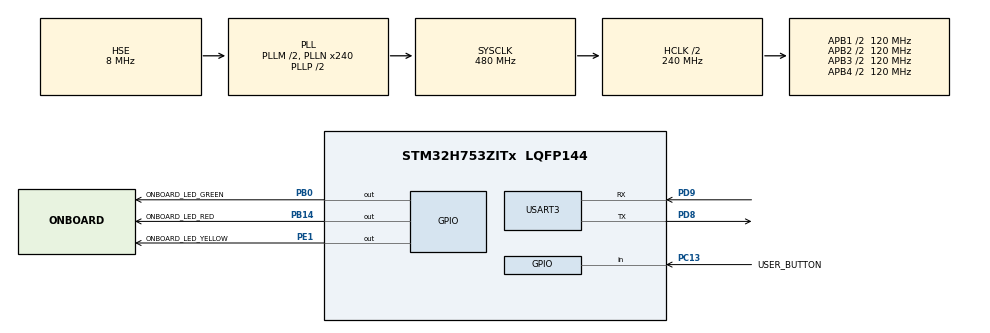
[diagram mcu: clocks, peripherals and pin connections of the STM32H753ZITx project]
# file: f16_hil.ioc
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CORTEX_M7.default_mode_Activation=1
Mcu.Family=STM32H7
Mcu.Name=STM32H753ZITx
Mcu.Package=LQFP144
NVIC.PriorityGroup=NVIC_PRIORITYGROUP_4
PB0.GPIO_Label=ONBOARD_LED_GREEN
PB0.Signal=GPIO_Output
PB14.GPIO_Label=ONBOARD_LED_RED
PB14.Signal=GPIO_Output
PC13.GPIO_Label=USER_BUTTON
PC13.Signal=GPIO_Input
PD8.Mode=Asynchronous
PD8.Signal=USART3_TX
PD9.Mode=Asynchronous
PD9.Signal=USART3_RX
PE1.GPIO_Label=ONBOARD_LED_YELLOW
PE1.Signal=GPIO_Output
PH0-OSC_IN\ (PH0).Mode=HSE-External-Oscillator
PH0-OSC_IN\ (PH0).Signal=RCC_OSC_IN
PH1-OSC_OUT\ (PH1).Mode=HSE-External-Oscillator
PH1-OSC_OUT\ (PH1).Signal=RCC_OSC_OUT
ProjectManager.HeapSize=0x200
ProjectManager.StackSize=0x400
ProjectManager.TargetToolchain=CMake
RCC.ADCFreq_Value=16125000
RCC.APB1Freq_Value=120000000
RCC.APB2Freq_Value=120000000
RCC.APB3Freq_Value=120000000
RCC.APB4Freq_Value=120000000
RCC.CortexFreq_Value=480000000
RCC.D1PPRE=RCC_APB3_DIV2
RCC.D2PPRE1=RCC_APB1_DIV2
RCC.D2PPRE2=RCC_APB2_DIV2
RCC.D3PPRE=RCC_APB4_DIV2
RCC.DIVM1=2
RCC.DIVN1=240
RCC.HCLKFreq_Value=240000000
RCC.HPRE=RCC_HCLK_DIV2
RCC.HSE_VALUE=8000000
RCC.PLLFRACN=0
RCC.PLLSourceVirtual=RCC_PLLSOURCE_HSE
RCC.SYSCLKFreq_VALUE=480000000
RCC.SYSCLKSource=RCC_SYSCLKSOURCE_PLLCLK
RCC.USBFreq_Value=480000000
USART3.VirtualMode-Asynchronous=VM_ASYNC
VP_MEMORYMAP_VS_MEMORYMAP.Mode=CurAppReg
board=custom

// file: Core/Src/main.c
/* USER CODE BEGIN Header */
/**
  ******************************************************************************
  * @file           : main.c
  * @brief          : Main program body
  ******************************************************************************
  * @attention
  *
  * Copyright (c) 2025 STMicroelectronics.
  * All rights reserved.
  *
  * This software is licensed under terms that can be found in the LICENSE file
  * in the root directory of this software component.
  * If no LICENSE file comes with this software, it is provided AS-IS.
  *
  ******************************************************************************
  */
/* USER CODE END Header */
#include "main.h"

/* USER CODE BEGIN Includes */
#include "f16.h"
#include <stdbool.h>
#include <stdint.h>
#include <stdio.h>
#include <string.h>
/* USER CODE END Includes */

/* USER CODE BEGIN PD */
#define SAMPLE_COUNT 6000
/* USER CODE END PD */

UART_HandleTypeDef huart3;

/* USER CODE BEGIN PV */
uint32_t loop_cycles = 0; // Count CPU cycles in main loop

// Archimedes-generated structs
f16_arg_t f16_arg; // Inputs
f16_res_t f16_res; // Outputs
f16_work_t f16_w;  // Workspace
/* USER CODE END PV */

void SystemClock_Config(void);
static void MPU_Config(void);
static void MX_GPIO_Init(void);
static void MX_USART3_UART_Init(void);

int main(void)
{

  /* MPU Configuration--------------------------------------------------------*/
  MPU_Config();

  /* MCU Configuration--------------------------------------------------------*/

  /* Reset of all peripherals, Initializes the Flash interface and the Systick. */
  HAL_Init();

  /* Configure the system clock */
  SystemClock_Config();

  /* Initialize all configured peripherals */
  MX_GPIO_Init();
  MX_USART3_UART_Init();
  /* USER CODE BEGIN 2 */

  // Set up plant model
  f16_init(&f16_arg, &f16_res, &f16_w);

  // Enable DWT cycle counter for profiling
  CoreDebug->DEMCR |= CoreDebug_DEMCR_TRCENA_Msk;
  DWT->CYCCNT = 0;
  DWT->CTRL |= DWT_CTRL_CYCCNTENA_Msk;

  /* USER CODE END 2 */

  /* Infinite loop */
  /* USER CODE BEGIN WHILE */
  uint32_t sample_idx = 0;
  HAL_GPIO_WritePin(ONBOARD_LED_GREEN_GPIO_Port, ONBOARD_LED_GREEN_Pin, GPIO_PIN_SET);
  while (1)
  {
    if (sample_idx >= SAMPLE_COUNT)
        break;
    /* USER CODE END WHILE */

    /* USER CODE BEGIN 3 */

    // NOTE: Precision timing with flags and interrupts doesn't matter here,
    // since we're just profiling the execution time of the plant code
    uint32_t start_cycles = DWT->CYCCNT; // Start cycle counter
    // Step the plant model forward
    f16_step(&f16_arg, &f16_res, &f16_w);
    uint32_t end_cycles = DWT->CYCCNT;          // End cycle counter
    loop_cycles += (end_cycles - start_cycles); // Count cycles
    sample_idx++;

    HAL_Delay(1); // Small delay to allow UART to keep up

  }
  send_data();
  HAL_GPIO_WritePin(ONBOARD_LED_GREEN_GPIO_Port, ONBOARD_LED_GREEN_Pin, GPIO_PIN_RESET);

  return 0;
  /* USER CODE END 3 */
}

void SystemClock_Config(void)
{
  RCC_OscInitTypeDef RCC_OscInitStruct = {0};
  RCC_ClkInitTypeDef RCC_ClkInitStruct = {0};

  /** Supply configuration update enable
  */
  HAL_PWREx_ConfigSupply(PWR_LDO_SUPPLY);

  /** Configure the main internal regulator output voltage
  */
  __HAL_PWR_VOLTAGESCALING_CONFIG(PWR_REGULATOR_VOLTAGE_SCALE0);

  while(!__HAL_PWR_GET_FLAG(PWR_FLAG_VOSRDY)) {}

  /** Initializes the RCC Oscillators according to the specified parameters
  * in the RCC_OscInitTypeDef structure.
  */
  RCC_OscInitStruct.OscillatorType = RCC_OSCILLATORTYPE_HSE;
  RCC_OscInitStruct.HSEState = RCC_HSE_ON;
  RCC_OscInitStruct.PLL.PLLState = RCC_PLL_ON;
  RCC_OscInitStruct.PLL.PLLSource = RCC_PLLSOURCE_HSE;
  RCC_OscInitStruct.PLL.PLLM = 2;
  RCC_OscInitStruct.PLL.PLLN = 240;
  RCC_OscInitStruct.PLL.PLLP = 2;
  RCC_OscInitStruct.PLL.PLLQ = 2;
  RCC_OscInitStruct.PLL.PLLR = 2;
  RCC_OscInitStruct.PLL.PLLRGE = RCC_PLL1VCIRANGE_2;
  RCC_OscInitStruct.PLL.PLLVCOSEL = RCC_PLL1VCOWIDE;
  RCC_OscInitStruct.PLL.PLLFRACN = 0;
  if (HAL_RCC_OscConfig(&RCC_OscInitStruct) != HAL_OK)
  {
    Error_Handler();
  }

  /** Initializes the CPU, AHB and APB buses clocks
  */
  RCC_ClkInitStruct.ClockType = RCC_CLOCKTYPE_HCLK|RCC_CLOCKTYPE_SYSCLK
                              |RCC_CLOCKTYPE_PCLK1|RCC_CLOCKTYPE_PCLK2
                              |RCC_CLOCKTYPE_D3PCLK1|RCC_CLOCKTYPE_D1PCLK1;
  RCC_ClkInitStruct.SYSCLKSource = RCC_SYSCLKSOURCE_PLLCLK;
  RCC_ClkInitStruct.SYSCLKDivider = RCC_SYSCLK_DIV1;
  RCC_ClkInitStruct.AHBCLKDivider = RCC_HCLK_DIV2;
  RCC_ClkInitStruct.APB3CLKDivider = RCC_APB3_DIV2;
  RCC_ClkInitStruct.APB1CLKDivider = RCC_APB1_DIV2;
  RCC_ClkInitStruct.APB2CLKDivider = RCC_APB2_DIV2;
  RCC_ClkInitStruct.APB4CLKDivider = RCC_APB4_DIV2;

  if (HAL_RCC_ClockConfig(&RCC_ClkInitStruct, FLASH_LATENCY_4) != HAL_OK)
  {
    Error_Handler();
  }
}

static void MX_USART3_UART_Init(void)
{

  huart3.Instance = USART3;
  huart3.Init.BaudRate = 115200;
  huart3.Init.WordLength = UART_WORDLENGTH_8B;
  huart3.Init.StopBits = UART_STOPBITS_1;
  huart3.Init.Parity = UART_PARITY_NONE;
  huart3.Init.Mode = UART_MODE_TX_RX;
  huart3.Init.HwFlowCtl = UART_HWCONTROL_NONE;
  huart3.Init.OverSampling = UART_OVERSAMPLING_16;
  huart3.Init.OneBitSampling = UART_ONE_BIT_SAMPLE_DISABLE;
  huart3.Init.ClockPrescaler = UART_PRESCALER_DIV1;
  huart3.AdvancedInit.AdvFeatureInit = UART_ADVFEATURE_NO_INIT;
  if (HAL_UART_Init(&huart3) != HAL_OK)
  {
    Error_Handler();
  }
  if (HAL_UARTEx_SetTxFifoThreshold(&huart3, UART_TXFIFO_THRESHOLD_1_8) != HAL_OK)
  {
    Error_Handler();
  }
  if (HAL_UARTEx_SetRxFifoThreshold(&huart3, UART_RXFIFO_THRESHOLD_1_8) != HAL_OK)
  {
    Error_Handler();
  }
  if (HAL_UARTEx_DisableFifoMode(&huart3) != HAL_OK)
  {
    Error_Handler();
  }

}

static void MX_GPIO_Init(void)
{
  GPIO_InitTypeDef GPIO_InitStruct = {0};

  /* GPIO Ports Clock Enable */
  __HAL_RCC_GPIOC_CLK_ENABLE();
  __HAL_RCC_GPIOH_CLK_ENABLE();
  __HAL_RCC_GPIOB_CLK_ENABLE();
  __HAL_RCC_GPIOD_CLK_ENABLE();
  __HAL_RCC_GPIOE_CLK_ENABLE();

  /*Configure GPIO pin Output Level */
  HAL_GPIO_WritePin(GPIOB, ONBOARD_LED_GREEN_Pin|ONBOARD_LED_RED_Pin, GPIO_PIN_RESET);

  /*Configure GPIO pin Output Level */
  HAL_GPIO_WritePin(ONBOARD_LED_YELLOW_GPIO_Port, ONBOARD_LED_YELLOW_Pin, GPIO_PIN_RESET);

  /*Configure GPIO pin : USER_BUTTON_Pin */
  GPIO_InitStruct.Pin = USER_BUTTON_Pin;
  GPIO_InitStruct.Mode = GPIO_MODE_INPUT;
  GPIO_InitStruct.Pull = GPIO_NOPULL;
  HAL_GPIO_Init(USER_BUTTON_GPIO_Port, &GPIO_InitStruct);

  /*Configure GPIO pins : ONBOARD_LED_GREEN_Pin ONBOARD_LED_RED_Pin */
  GPIO_InitStruct.Pin = ONBOARD_LED_GREEN_Pin|ONBOARD_LED_RED_Pin;
  GPIO_InitStruct.Mode = GPIO_MODE_OUTPUT_PP;
  GPIO_InitStruct.Pull = GPIO_NOPULL;
  GPIO_InitStruct.Speed = GPIO_SPEED_FREQ_LOW;
  HAL_GPIO_Init(GPIOB, &GPIO_InitStruct);

  /*Configure GPIO pin : ONBOARD_LED_YELLOW_Pin */
  GPIO_InitStruct.Pin = ONBOARD_LED_YELLOW_Pin;
  GPIO_InitStruct.Mode = GPIO_MODE_OUTPUT_PP;
  GPIO_InitStruct.Pull = GPIO_NOPULL;
  GPIO_InitStruct.Speed = GPIO_SPEED_FREQ_LOW;
  HAL_GPIO_Init(ONBOARD_LED_YELLOW_GPIO_Port, &GPIO_InitStruct);

}

/* USER CODE BEGIN 4 */
void send_data(void)
{
    char header[100];
    HAL_StatusTypeDef status;

    snprintf(header, sizeof(header), "START,%lu,%lu\n",
             (uint32_t)SAMPLE_COUNT, loop_cycles);
    status = HAL_UART_Transmit(&huart3, (uint8_t *)header, strlen(header), HAL_MAX_DELAY);

    if (status != HAL_OK) {
        // Blink red LED if transmission fails
        HAL_GPIO_WritePin(ONBOARD_LED_RED_GPIO_Port, ONBOARD_LED_RED_Pin, GPIO_PIN_SET);
        HAL_Delay(2000);
        HAL_GPIO_WritePin(ONBOARD_LED_RED_GPIO_Port, ONBOARD_LED_RED_Pin, GPIO_PIN_RESET);
    }

    status = HAL_UART_Transmit(&huart3, (uint8_t *)"END\r\n", 5, HAL_MAX_DELAY);
}

/* USER CODE END 4 */

 /* MPU Configuration */

void MPU_Config(void)
{
  MPU_Region_InitTypeDef MPU_InitStruct = {0};

  /* Disables the MPU */
  HAL_MPU_Disable();

  /** Initializes and configures the Region and the memory to be protected
  */
  MPU_InitStruct.Enable = MPU_REGION_ENABLE;
  MPU_InitStruct.Number = MPU_REGION_NUMBER0;
  MPU_InitStruct.BaseAddress = 0x0;
  MPU_InitStruct.Size = MPU_REGION_SIZE_4GB;
  MPU_InitStruct.SubRegionDisable = 0x87;
  MPU_InitStruct.TypeExtField = MPU_TEX_LEVEL0;
  MPU_InitStruct.AccessPermission = MPU_REGION_NO_ACCESS;
  MPU_InitStruct.DisableExec = MPU_INSTRUCTION_ACCESS_DISABLE;
  MPU_InitStruct.IsShareable = MPU_ACCESS_SHAREABLE;
  MPU_InitStruct.IsCacheable = MPU_ACCESS_NOT_CACHEABLE;
  MPU_InitStruct.IsBufferable = MPU_ACCESS_NOT_BUFFERABLE;

  HAL_MPU_ConfigRegion(&MPU_InitStruct);
  /* Enables the MPU */
  HAL_MPU_Enable(MPU_PRIVILEGED_DEFAULT);

}

void Error_Handler(void)
{
  __disable_irq();
  while (1)
  {
  }
}
